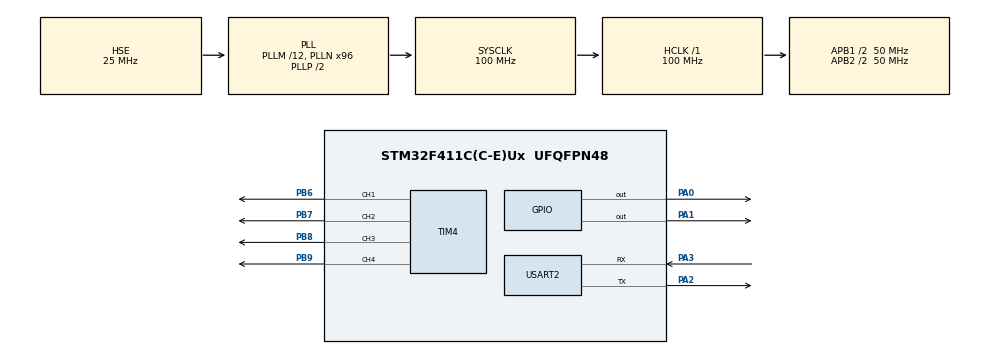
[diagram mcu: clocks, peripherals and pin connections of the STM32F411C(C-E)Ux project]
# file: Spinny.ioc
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Mcu.Family=STM32F4
Mcu.Name=STM32F411C(C-E)Ux
Mcu.Package=UFQFPN48
NVIC.PriorityGroup=NVIC_PRIORITYGROUP_4
NVIC.TIM4_IRQn=true\:0\:0\:false\:false\:true\:true\:true\:true
PA0-WKUP.Signal=GPIO_Output
PA1.Signal=GPIO_Output
PA13.Mode=Serial_Wire
PA13.Signal=SYS_JTMS-SWDIO
PA14.Mode=Serial_Wire
PA14.Signal=SYS_JTCK-SWCLK
PA2.Mode=Asynchronous
PA2.Signal=USART2_TX
PA3.Mode=Asynchronous
PA3.Signal=USART2_RX
PB6.Signal=S_TIM4_CH1
PB7.Signal=S_TIM4_CH2
PB8.Signal=S_TIM4_CH3
PB9.Signal=S_TIM4_CH4
PH0\ -\ OSC_IN.Mode=HSE-External-Oscillator
PH0\ -\ OSC_IN.Signal=RCC_OSC_IN
PH1\ -\ OSC_OUT.Mode=HSE-External-Oscillator
PH1\ -\ OSC_OUT.Signal=RCC_OSC_OUT
ProjectManager.HeapSize=0x200
ProjectManager.StackSize=0x400
ProjectManager.TargetToolchain=STM32CubeIDE
RCC.48MHZClocksFreq_Value=50000000
RCC.AHBFreq_Value=100000000
RCC.APB1CLKDivider=RCC_HCLK_DIV2
RCC.APB1Freq_Value=50000000
RCC.APB1TimFreq_Value=100000000
RCC.APB2CLKDivider=RCC_HCLK_DIV2
RCC.APB2Freq_Value=50000000
RCC.APB2TimFreq_Value=100000000
RCC.CortexFreq_Value=100000000
RCC.HCLKFreq_Value=100000000
RCC.HSE_VALUE=25000000
RCC.HSI_VALUE=16000000
RCC.LSE_VALUE=32768
RCC.PLLM=12
RCC.PLLN=96
RCC.PLLSourceVirtual=RCC_PLLSOURCE_HSE
RCC.SYSCLKFreq_VALUE=100000000
RCC.SYSCLKSource=RCC_SYSCLKSOURCE_PLLCLK
RCC.VCOOutputFreq_Value=200000000
SH.S_TIM4_CH1.0=TIM4_CH1,PWM Generation1 CH1
SH.S_TIM4_CH2.0=TIM4_CH2,PWM Generation2 CH2
SH.S_TIM4_CH3.0=TIM4_CH3,PWM Generation3 CH3
SH.S_TIM4_CH4.0=TIM4_CH4,PWM Generation4 CH4
TIM4.Channel-PWM\ Generation1\ CH1=TIM_CHANNEL_1
TIM4.Channel-PWM\ Generation2\ CH2=TIM_CHANNEL_2
TIM4.Channel-PWM\ Generation3\ CH3=TIM_CHANNEL_3
TIM4.Channel-PWM\ Generation4\ CH4=TIM_CHANNEL_4
TIM4.OCPolarity_2=TIM_OCPOLARITY_HIGH
TIM4.Pulse-PWM\ Generation1\ CH1=0
TIM4.Pulse-PWM\ Generation2\ CH2=0
USART2.VirtualMode=VM_ASYNC
board=custom

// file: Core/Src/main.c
/* USER CODE BEGIN Header */
/**
  ******************************************************************************
  * @file           : main.c
  * @brief          : Main program body
  ******************************************************************************
  * @attention
  *
  * Copyright (c) 2022 STMicroelectronics.
  * All rights reserved.
  *
  * This software is licensed under terms that can be found in the LICENSE file
  * in the root directory of this software component.
  * If no LICENSE file comes with this software, it is provided AS-IS.
  *
  ******************************************************************************
  */
/* USER CODE END Header */
#include "main.h"

/* USER CODE BEGIN Includes */
#include "Motor_Driver.h"
#include "stdio.h"
#include "string.h"

/* USER CODE END Includes */

 TIM_HandleTypeDef htim4;

UART_HandleTypeDef huart2;

void SystemClock_Config(void);
static void MX_GPIO_Init(void);
static void MX_TIM4_Init(void);
static void MX_USART2_UART_Init(void);

int main(void)
{
  /* USER CODE BEGIN 1 */
	uint8_t buff[8];
	uint8_t buff1[12];
	uint8_t buff2[24];
	int val;
	static int n;
	static int m;

	Motor_t motor1;

	motor1.htim = &htim4;

	motor1.EN_GPIO = GPIOA;
	motor1.EN_pin = GPIO_PIN_0;

	motor1.IN1_pin = TIM_CHANNEL_1;
	motor1.IN2_pin = TIM_CHANNEL_2;

	Motor_t motor2;

	motor2.htim = &htim4;

	motor2.EN_GPIO = GPIOA;
	motor2.EN_pin = GPIO_PIN_1;

	motor2.IN1_pin = TIM_CHANNEL_3;
	motor2.IN2_pin = TIM_CHANNEL_4;

  /* USER CODE END 1 */

  /* MCU Configuration--------------------------------------------------------*/

  /* Reset of all peripherals, Initializes the Flash interface and the Systick. */
  HAL_Init();

  /* Configure the system clock */
  SystemClock_Config();

  /* Initialize all configured peripherals */
  MX_GPIO_Init();
  MX_TIM4_Init();
  MX_USART2_UART_Init();

  /* Infinite loop */
  /* USER CODE BEGIN WHILE */
  int val_ten = 0;
  int val_one = 0;
  n = sprintf((char*)buff1,"Welcome \r\n");
  m = sprintf((char*)buff,"Mnxy\r\n");
  enable(&motor1);
  HAL_UART_Transmit(&huart2, buff1, strlen((char*)buff1), HAL_MAX_DELAY);

  while (1)
  {
	  n = sprintf((char*)buff2,"Please enter a command: \r\n");
	  HAL_UART_Transmit(&huart2, buff2, strlen((char*)buff2), HAL_MAX_DELAY);
	  //HAL_Delay(500);
	  //set_level(&motor1, 32535);
	  //HAL_Delay(500);
	  HAL_UART_Receive(&huart2, (char*)buff, 4, HAL_MAX_DELAY);
	  HAL_Delay(500);

	  if(buff[2] > 47 && buff[2] < 58){

		  val_ten = buff[2] - 48;

	  }

	  if(buff[2] > 64 && buff[2] < 71){

	  		  val_ten = buff[2] - 55;

	  }

	  if(buff[3] > 47 && buff[3] < 58){

	  		  val_one = buff[3] - 48;

	  }

	  if(buff[3] > 64 && buff[3] < 71){

	  	  	  val_one = buff[3] - 55;

	  }

	  val = buff[2]*16 + buff[3];

	  val = (65535*val)/255);

	  if(buff[1]==50){

		  enable(&motor2);
		  set_level(&motor2, val);

	  }
	  if(buff[1]==49){

		  enable(&motor1);
		  set_level(&motor1, val);

	  }

	  HAL_UART_Transmit(&huart2, buff, strlen((char*)buff), HAL_MAX_DELAY);

    /* USER CODE END WHILE */

  }
}

void SystemClock_Config(void)
{
  RCC_OscInitTypeDef RCC_OscInitStruct = {0};
  RCC_ClkInitTypeDef RCC_ClkInitStruct = {0};

  /** Configure the main internal regulator output voltage
  */
  __HAL_RCC_PWR_CLK_ENABLE();
  __HAL_PWR_VOLTAGESCALING_CONFIG(PWR_REGULATOR_VOLTAGE_SCALE1);

  /** Initializes the RCC Oscillators according to the specified parameters
  * in the RCC_OscInitTypeDef structure.
  */
  RCC_OscInitStruct.OscillatorType = RCC_OSCILLATORTYPE_HSE;
  RCC_OscInitStruct.HSEState = RCC_HSE_ON;
  RCC_OscInitStruct.PLL.PLLState = RCC_PLL_ON;
  RCC_OscInitStruct.PLL.PLLSource = RCC_PLLSOURCE_HSE;
  RCC_OscInitStruct.PLL.PLLM = 12;
  RCC_OscInitStruct.PLL.PLLN = 96;
  RCC_OscInitStruct.PLL.PLLP = RCC_PLLP_DIV2;
  RCC_OscInitStruct.PLL.PLLQ = 4;
  if (HAL_RCC_OscConfig(&RCC_OscInitStruct) != HAL_OK)
  {
    Error_Handler();
  }

  /** Initializes the CPU, AHB and APB buses clocks
  */
  RCC_ClkInitStruct.ClockType = RCC_CLOCKTYPE_HCLK|RCC_CLOCKTYPE_SYSCLK
                              |RCC_CLOCKTYPE_PCLK1|RCC_CLOCKTYPE_PCLK2;
  RCC_ClkInitStruct.SYSCLKSource = RCC_SYSCLKSOURCE_PLLCLK;
  RCC_ClkInitStruct.AHBCLKDivider = RCC_SYSCLK_DIV1;
  RCC_ClkInitStruct.APB1CLKDivider = RCC_HCLK_DIV2;
  RCC_ClkInitStruct.APB2CLKDivider = RCC_HCLK_DIV2;

  if (HAL_RCC_ClockConfig(&RCC_ClkInitStruct, FLASH_LATENCY_3) != HAL_OK)
  {
    Error_Handler();
  }
}

static void MX_TIM4_Init(void)
{

  TIM_MasterConfigTypeDef sMasterConfig = {0};
  TIM_OC_InitTypeDef sConfigOC = {0};

  htim4.Instance = TIM4;
  htim4.Init.Prescaler = 0;
  htim4.Init.CounterMode = TIM_COUNTERMODE_UP;
  htim4.Init.Period = 65535;
  htim4.Init.ClockDivision = TIM_CLOCKDIVISION_DIV1;
  htim4.Init.AutoReloadPreload = TIM_AUTORELOAD_PRELOAD_DISABLE;
  if (HAL_TIM_PWM_Init(&htim4) != HAL_OK)
  {
    Error_Handler();
  }
  sMasterConfig.MasterOutputTrigger = TIM_TRGO_RESET;
  sMasterConfig.MasterSlaveMode = TIM_MASTERSLAVEMODE_DISABLE;
  if (HAL_TIMEx_MasterConfigSynchronization(&htim4, &sMasterConfig) != HAL_OK)
  {
    Error_Handler();
  }
  sConfigOC.OCMode = TIM_OCMODE_PWM1;
  sConfigOC.Pulse = 0;
  sConfigOC.OCPolarity = TIM_OCPOLARITY_HIGH;
  sConfigOC.OCFastMode = TIM_OCFAST_DISABLE;
  if (HAL_TIM_PWM_ConfigChannel(&htim4, &sConfigOC, TIM_CHANNEL_1) != HAL_OK)
  {
    Error_Handler();
  }
  if (HAL_TIM_PWM_ConfigChannel(&htim4, &sConfigOC, TIM_CHANNEL_2) != HAL_OK)
  {
    Error_Handler();
  }
  if (HAL_TIM_PWM_ConfigChannel(&htim4, &sConfigOC, TIM_CHANNEL_3) != HAL_OK)
  {
    Error_Handler();
  }
  if (HAL_TIM_PWM_ConfigChannel(&htim4, &sConfigOC, TIM_CHANNEL_4) != HAL_OK)
  {
    Error_Handler();
  }
  HAL_TIM_MspPostInit(&htim4);

}

static void MX_USART2_UART_Init(void)
{

  huart2.Instance = USART2;
  huart2.Init.BaudRate = 115200;
  huart2.Init.WordLength = UART_WORDLENGTH_8B;
  huart2.Init.StopBits = UART_STOPBITS_1;
  huart2.Init.Parity = UART_PARITY_NONE;
  huart2.Init.Mode = UART_MODE_TX_RX;
  huart2.Init.HwFlowCtl = UART_HWCONTROL_NONE;
  huart2.Init.OverSampling = UART_OVERSAMPLING_16;
  if (HAL_UART_Init(&huart2) != HAL_OK)
  {
    Error_Handler();
  }

}

static void MX_GPIO_Init(void)
{
  GPIO_InitTypeDef GPIO_InitStruct = {0};

  /* GPIO Ports Clock Enable */
  __HAL_RCC_GPIOH_CLK_ENABLE();
  __HAL_RCC_GPIOA_CLK_ENABLE();
  __HAL_RCC_GPIOB_CLK_ENABLE();

  /*Configure GPIO pin Output Level */
  HAL_GPIO_WritePin(GPIOA, GPIO_PIN_0|GPIO_PIN_1, GPIO_PIN_RESET);

  /*Configure GPIO pins : PA0 PA1 */
  GPIO_InitStruct.Pin = GPIO_PIN_0|GPIO_PIN_1;
  GPIO_InitStruct.Mode = GPIO_MODE_OUTPUT_PP;
  GPIO_InitStruct.Pull = GPIO_NOPULL;
  GPIO_InitStruct.Speed = GPIO_SPEED_FREQ_LOW;
  HAL_GPIO_Init(GPIOA, &GPIO_InitStruct);

}

void Error_Handler(void)
{
  __disable_irq();
  while (1)
  {
  }
}
